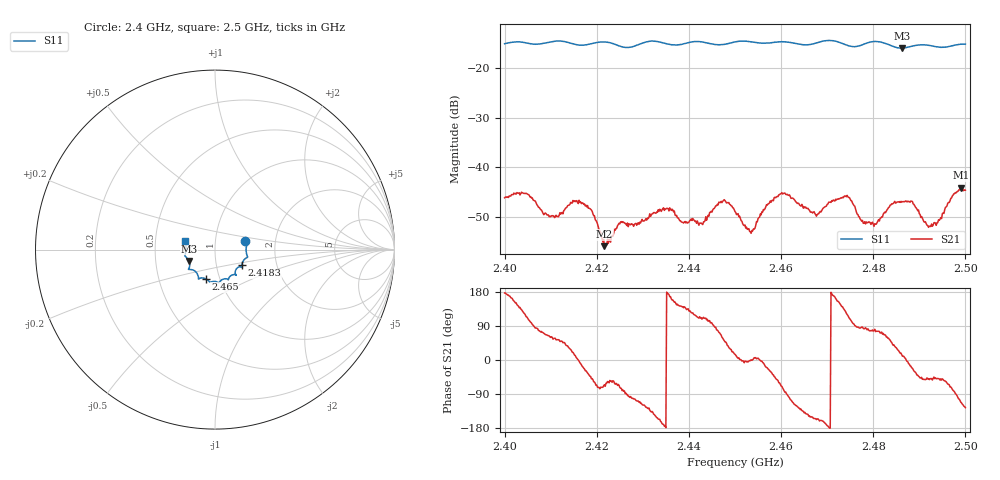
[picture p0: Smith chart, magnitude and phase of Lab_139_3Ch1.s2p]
# Hz S RI R 50
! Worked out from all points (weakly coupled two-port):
!   601 points, 2.4 GHz to 2.5 GHz, reference 50 ohm
!   highest |S21| = -44.10 dB at 2.499 GHz (marker M1); lowest = -55.8 dB at 2.4217 GHz (marker M2)
!   lowest |S11| = -16.0 dB at 2.4862 GHz (marker M3), VSWR 1.38, Z = 37.1 - j4.83 ohm
!   |S11| at or under -10 dB: start of sweep to end of sweep
!   S12 and S22 are empty: the file has one direction only
!   S11 on the Smith chart (normalised r, x): 2.4 GHz: 1.40, +0.13; 2.4183 GHz: 1.33, -0.24; 2.465 GHz: 0.86, -0.29; 2.5 GHz: 0.71, +0.07
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2.4e9  0.1689 0.0459  -0.00494 0.000269  0 0  0 0
2.404833e9  0.1764 0.0207  -0.00217 0.00499  0 0  0 0
2.4105e9  0.1805 -0.0377  0.00186 0.00266  0 0  0 0
2.416667e9  0.1546 -0.0682  0.00422 -0.00095  0 0  0 0
2.418333e9  0.15 -0.0866  0.00299 -0.00248  0 0  0 0
2.421667e9  0.1526 -0.0999  0.000676 -0.00147  0 0  0 0
2.425167e9  0.1325 -0.097  0.000764 -0.00273  0 0  0 0
2.433333e9  0.1167 -0.1413  -0.00342 -0.00154  0 0  0 0
2.4425e9  0.0733 -0.1678  -0.000978 0.00257  0 0  0 0
2.447167e9  0.0421 -0.1659  0.00219 0.00384  0 0  0 0
2.45e9  0.0251 -0.1808  0.00348 0.000935  0 0  0 0
2.453667e9  0.0158 -0.1819  0.00232 -3.45e-05  0 0  0 0
2.46e9  -0.0276 -0.1813  0.002 -0.00507  0 0  0 0
2.465e9  -0.0528 -0.1623  -0.00304 -0.00263  0 0  0 0
2.466667e9  -0.0714 -0.1577  -0.00311 -0.00175  0 0  0 0
2.474167e9  -0.0961 -0.14  -0.00277 0.00424  0 0  0 0
2.480167e9  -0.1474 -0.1104  0.000541 0.0025  0 0  0 0
2.483333e9  -0.142 -0.096  0.00213 0.00333  0 0  0 0
2.486167e9  -0.1446 -0.0635  0.0044 0.00113  0 0  0 0
2.4925e9  -0.1654 -0.0239  0.00168 -0.00192  0 0  0 0
2.499e9  -0.1677 0.0423  -0.00226 -0.00582  0 0  0 0
2.5e9  -0.1668 0.0471  -0.00345 -0.00479  0 0  0 0
